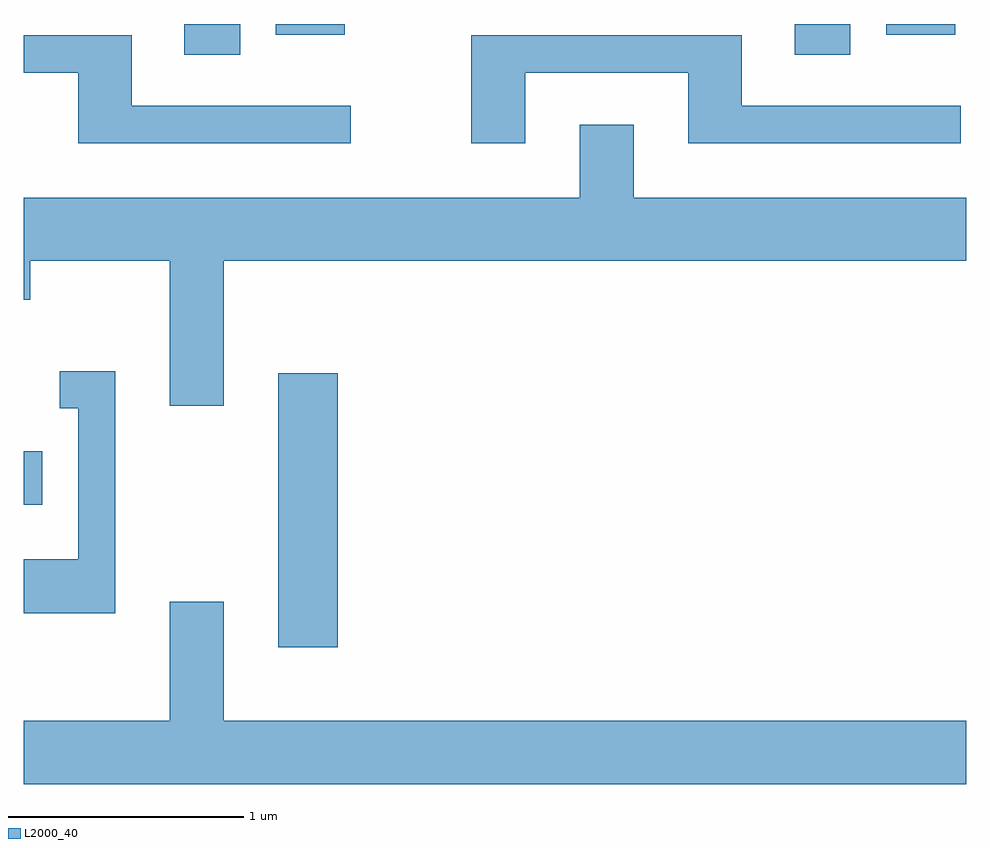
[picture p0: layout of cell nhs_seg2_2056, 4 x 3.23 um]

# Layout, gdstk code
import gdstk
lib = gdstk.Library(unit=1e-6, precision=1e-09)
def R(c, l, rs):  # rectangles x0, y0, x1, y1
    for r in rs: c.add(gdstk.rectangle(r[:2], r[2:], *l))
def P(c, l, *ps):  # polygons
    for p in ps: c.add(gdstk.Polygon(p, *l))
L2000_40 = (2000, 40)

nhs_seg2_2056 = lib.new_cell('nhs_seg2_2056')
R(nhs_seg2_2056, L2000_40, [(246.691,1011.156,246.944,1012.319), (245.611,1011.761,245.689,1011.989), (246.293,1013.671,246.529,1013.802), (248.883,1013.671,249.119,1013.802), (246.681,1013.756,246.974,1013.802), (249.271,1013.756,249.564,1013.802)])
P(nhs_seg2_2056, L2000_40, [(247.739,1013.596),(248.431,1013.596),(248.431,1013.296),(249.588,1013.296),(249.588,1013.454),(248.659,1013.454),(248.659,1013.754),(247.511,1013.754),(247.511,1013.296),(247.739,1013.296)],
  [(246.998,1013.454),(246.069,1013.454),(246.069,1013.754),(245.611,1013.754),(245.611,1013.596),(245.841,1013.596),(245.841,1013.296),(246.998,1013.296)],
  [(246.459,1012.796),(249.611,1012.796),(249.611,1013.064),(248.199,1013.064),(248.199,1013.374),(247.971,1013.374),(247.971,1013.064),(245.611,1013.064),(245.611,1012.631),(245.639,1012.631),(245.639,1012.796),(246.231,1012.796),(246.231,1012.181),(246.459,1012.181)],
  [(245.999,1012.329),(245.763,1012.329),(245.763,1012.171),(245.841,1012.171),(245.841,1011.529),(245.611,1011.529),(245.611,1011.301),(245.999,1011.301)],
  [(249.611,1010.844),(246.459,1010.844),(246.459,1011.349),(246.231,1011.349),(246.231,1010.844),(245.611,1010.844),(245.611,1010.576),(249.611,1010.576)])

lib.write_gds('nhs_seg2_2056.gds')
